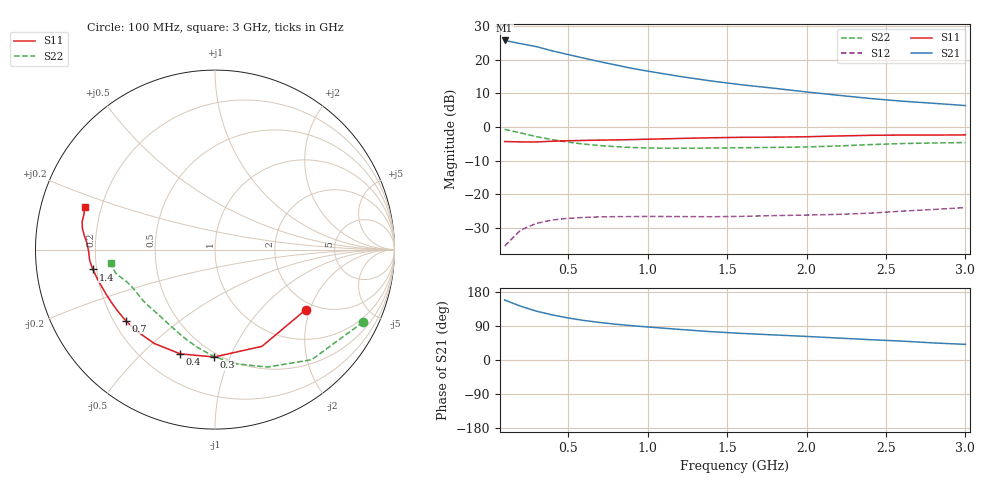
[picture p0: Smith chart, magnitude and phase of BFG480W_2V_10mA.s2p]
! Filename: 210BFG480.001
! Title: BFG480W
! Bias: Vce=2V; Ic=10mA
! Company: Philips Semiconductors NL
! User: Quality&Reliability T&D
! Measure time: 10 Nov 1999 / 11:53:15
#  MHz  S  MA  R 50
! Freq  S11  S21  S12  S22  :
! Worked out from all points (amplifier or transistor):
!   20 points, 100 MHz to 3 GHz, reference 50 ohm
!   highest |S21| = 25.7 dB at 100 MHz (marker M1)
!   |S21| within 3 dB of that: start of sweep to 392.1 MHz
!   unconditionally stable (mu >= 1): 1.741 GHz to end of sweep
!   at 400 MHz: K = 0.22, MSG = 25.2 dB, |S12| = -27.7 dB
!   at 1.2 GHz: K = 0.71, MSG = 20.9 dB, |S12| = -26.7 dB
!   at 3 GHz: K = 1.24, MAG = 12.2 dB, |S12| = -24.0 dB
!   S11 on the Smith chart (normalised r, x): 100 MHz: 1.77, -1.88; 300 MHz: 0.47, -0.87; 400 MHz: 0.35, -0.66; 700 MHz: 0.25, -0.33; 1.4 GHz: 0.18, -0.08; 3 GHz: 0.14, +0.15
100  0.6064 -33.5  19.35 158.4  0.01681 70.9  0.9188 -26.1
200  0.5991 -64.1  17.36 142.0  0.02905 56.1  0.8163 -48.7
300  0.5984 -90.5  15.68 128.9  0.03671 46.0  0.7167 -66.0
400  0.6123 -108.4  13.54 119.0  0.04125 38.8  0.6466 -79.7
500  0.6229 -122.8  11.92 110.9  0.04363 34.0  0.5935 -91.0
600  0.6296 -133.6  10.54 104.2  0.04506 30.8  0.5548 -99.8
700  0.6362 -141.6  9.342 99.0  0.04583 28.9  0.5277 -107.1
800  0.6414 -148.1  8.347 94.4  0.04623 27.7  0.508 -113.2
900  0.648 -153.1  7.453 90.6  0.04631 27.2  0.4947 -118.6
1000  0.6558 -157.8  6.769 87.2  0.04652 27.2  0.4858 -123.6
1200  0.6734 -165.3  5.655 80.8  0.04637 27.9  0.4804 -132.1
1400  0.6898 -170.8  4.831 74.7  0.0461 29.7  0.4846 -138.9
1600  0.7007 -175.1  4.214 70.0  0.04668 32.9  0.4906 -144.1
1800  0.7044 -179.2  3.752 66.1  0.04795 36.7  0.4956 -149.2
2000  0.7143 177.1  3.316 62.2  0.04881 40.8  0.5031 -154.5
2200  0.734 173.6  2.958 57.9  0.04997 44.2  0.521 -159.5
2400  0.7497 170.6  2.65 53.6  0.0521 47.4  0.5454 -163.4
2600  0.7565 168.0  2.418 49.9  0.05582 50.5  0.5657 -166.1
2800  0.756 165.2  2.246 45.1  0.05909 52.2  0.5765 -169.0
3000  0.7619 162.1  2.079 41.3  0.06301 54.3  0.5858 -172.5
